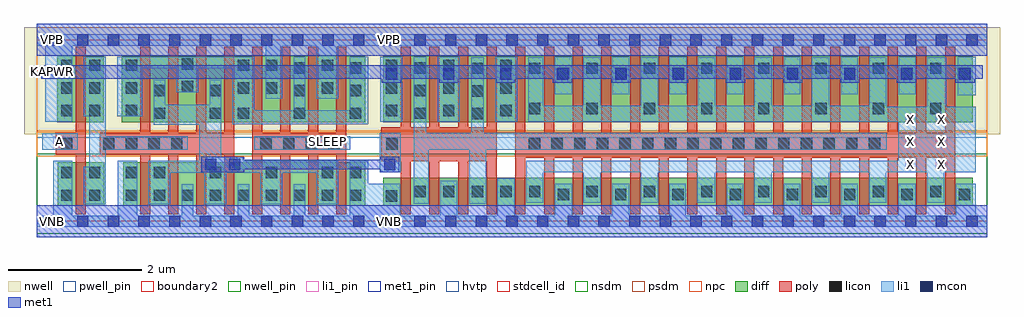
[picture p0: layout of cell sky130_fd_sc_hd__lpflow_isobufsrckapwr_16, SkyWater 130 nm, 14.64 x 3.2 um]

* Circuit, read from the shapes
.subckt sky130_fd_sc_hd__lpflow_isobufsrckapwr_16 A KAPWR SLEEP VGND VNB VPB VPWR X
XM1 n1 A VGND VNB sky130_fd_pr__nfet_01v8 w=0.65 l=0.15
XM2 n2 n1 VGND VNB sky130_fd_pr__nfet_01v8 w=0.65 l=0.15 m=4
XM3 n2 SLEEP VGND VNB sky130_fd_pr__nfet_01v8 w=0.65 l=0.15 m=4
XM4 n3 n2 VGND VNB sky130_fd_pr__nfet_01v8 w=0.42 l=0.15 m=4
XM5 X n3 VGND VNB sky130_fd_pr__nfet_01v8 w=0.42 l=0.15 m=16
XM6 n1 A VPWR VPB sky130_fd_pr__pfet_01v8_hvt w=1 l=0.15
XM7 n2 n1 n4 VPB sky130_fd_pr__pfet_01v8_hvt w=1 l=0.15 m=4
XM8 VPWR SLEEP n4 VPB sky130_fd_pr__pfet_01v8_hvt w=1 l=0.15 m=4
XM9 n3 n2 KAPWR VPB sky130_fd_pr__pfet_01v8_hvt w=1 l=0.15 m=4
XM10 X n3 KAPWR VPB sky130_fd_pr__pfet_01v8_hvt w=1 l=0.15 m=16
.ends

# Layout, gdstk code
import gdstk
lib = gdstk.Library(unit=1e-6, precision=1e-09)
def R(c, l, rs):  # rectangles x0, y0, x1, y1
    for r in rs: c.add(gdstk.rectangle(r[:2], r[2:], *l))
def A(c, l, x, y, w, h, nx, ny, dx, dy):  # array of equal rectangles
    R(c, l, [(x+i*dx, y+j*dy, x+i*dx+w, y+j*dy+h) for i in range(nx) for j in range(ny)])
def P(c, l, *ps):  # polygons
    for p in ps: c.add(gdstk.Polygon(p, *l))
nwell_pin = (64, 16)
nwell = (64, 20)
diff = (65, 20)
poly = (66, 20)
licon = (66, 44)
li1_pin = (67, 16)
li1 = (67, 20)
mcon = (67, 44)
met1_pin = (68, 16)
met1 = (68, 20)
hvtp = (78, 44)
stdcell_id = (81, 4)
nsdm = (93, 44)
psdm = (94, 20)
npc = (95, 20)
pwell_pin = (122, 16)
boundary2 = (236, 0)

sky130_fd_sc_hd__lpflow_ = lib.new_cell('sky130_fd_sc_hd__lpflow_isobufsrckapwr_16')
R(sky130_fd_sc_hd__lpflow_, nwell_pin, [(0.15,2.635,0.32,2.805), (5.205,2.635,5.375,2.805)])
R(sky130_fd_sc_hd__lpflow_, nwell, [(-0.19,1.305,14.45,2.91)])
R(sky130_fd_sc_hd__lpflow_, diff, [(0.315,0.235,1.015,0.885), (1.295,0.235,4.925,0.885), (5.195,0.235,14.04,0.655), (0.305,1.485,1.005,2.485), (1.275,1.485,4.925,2.485), (5.195,1.485,14.04,2.485)])
P(sky130_fd_sc_hd__lpflow_, poly, [(0.735,2.615),(0.585,2.615),(0.585,1.325),(0.285,1.325),(0.285,0.995),(0.585,0.995),(0.585,0.105),(0.735,0.105)],
  [(2.965,2.615),(2.815,2.615),(2.815,1.325),(2.545,1.325),(2.545,2.615),(2.395,2.615),(2.395,1.325),(2.125,1.325),(2.125,2.615),(1.975,2.615),(1.975,1.325),(1.705,1.325),(1.705,2.615),(1.555,2.615),(1.555,1.325),(0.945,1.325),(0.945,0.995),(1.555,0.995),(1.555,0.105),(1.705,0.105),(1.705,0.995),(1.975,0.995),(1.975,0.105),(2.125,0.105),(2.125,0.995),(2.395,0.995),(2.395,0.105),(2.545,0.105),(2.545,0.995),(2.815,0.995),(2.815,0.105),(2.965,0.105)],
  [(4.645,2.615),(4.495,2.615),(4.495,1.325),(4.225,1.325),(4.225,2.615),(4.075,2.615),(4.075,1.325),(3.805,1.325),(3.805,2.615),(3.655,2.615),(3.655,1.325),(3.385,1.325),(3.385,2.615),(3.235,2.615),(3.235,0.105),(3.385,0.105),(3.385,0.995),(3.655,0.995),(3.655,0.105),(3.805,0.105),(3.805,0.995),(4.075,0.995),(4.075,0.105),(4.225,0.105),(4.225,0.995),(4.495,0.995),(4.495,0.105),(4.645,0.105)],
  [(6.9,2.615),(6.75,2.615),(6.75,1.41),(6.47,1.41),(6.47,2.615),(6.32,2.615),(6.32,1.41),(6.04,1.41),(6.04,2.615),(5.89,2.615),(5.89,1.41),(5.61,1.41),(5.61,2.615),(5.46,2.615),(5.46,1.41),(5.165,1.41),(5.165,0.9),(5.46,0.9),(5.46,0.105),(5.61,0.105),(5.61,0.9),(5.89,0.9),(5.89,0.105),(6.04,0.105),(6.04,0.9),(6.32,0.9),(6.32,0.105),(6.47,0.105),(6.47,0.9),(6.75,0.9),(6.75,0.105),(6.9,0.105)],
  [(13.775,2.615),(13.625,2.615),(13.625,1.325),(13.345,1.325),(13.345,2.615),(13.195,2.615),(13.195,1.325),(12.915,1.325),(12.915,2.615),(12.765,2.615),(12.765,1.325),(12.485,1.325),(12.485,2.615),(12.335,2.615),(12.335,1.325),(12.055,1.325),(12.055,2.615),(11.905,2.615),(11.905,1.325),(11.625,1.325),(11.625,2.615),(11.475,2.615),(11.475,1.325),(11.195,1.325),(11.195,2.615),(11.045,2.615),(11.045,1.325),(10.765,1.325),(10.765,2.615),(10.615,2.615),(10.615,1.325),(10.34,1.325),(10.34,2.615),(10.19,2.615),(10.19,1.325),(9.91,1.325),(9.91,2.615),(9.76,2.615),(9.76,1.325),(9.48,1.325),(9.48,2.615),(9.33,2.615),(9.33,1.325),(9.05,1.325),(9.05,2.615),(8.9,2.615),(8.9,1.325),(8.62,1.325),(8.62,2.615),(8.47,2.615),(8.47,1.325),(8.19,1.325),(8.19,2.615),(8.04,2.615),(8.04,1.325),(7.76,1.325),(7.76,2.615),(7.61,2.615),(7.61,1.325),(7.33,1.325),(7.33,2.615),(7.18,2.615),(7.18,0.105),(7.33,0.105),(7.33,0.95),(7.61,0.95),(7.61,0.105),(7.76,0.105),(7.76,0.95),(8.04,0.95),(8.04,0.105),(8.19,0.105),(8.19,0.95),(8.47,0.95),(8.47,0.105),(8.62,0.105),(8.62,0.95),(8.9,0.95),(8.9,0.105),(9.05,0.105),(9.05,0.95),(9.33,0.95),(9.33,0.105),(9.48,0.105),(9.48,0.95),(9.76,0.95),(9.76,0.105),(9.91,0.105),(9.91,0.95),(10.19,0.95),(10.19,0.105),(10.34,0.105),(10.34,0.95),(10.615,0.95),(10.615,0.105),(10.765,0.105),(10.765,0.95),(11.045,0.95),(11.045,0.105),(11.195,0.105),(11.195,0.95),(11.475,0.95),(11.475,0.105),(11.625,0.105),(11.625,0.95),(11.905,0.95),(11.905,0.105),(12.055,0.105),(12.055,0.95),(12.335,0.95),(12.335,0.105),(12.485,0.105),(12.485,0.95),(12.765,0.95),(12.765,0.105),(12.915,0.105),(12.915,0.95),(13.195,0.95),(13.195,0.105),(13.345,0.105),(13.345,0.95),(13.625,0.95),(13.625,0.105),(13.775,0.105)])
A(sky130_fd_sc_hd__lpflow_, licon, 1.335, 0.305, 0.17, 0.17, 9, 1, 0.42, 0)
A(sky130_fd_sc_hd__lpflow_, licon, 7.815, 0.315, 0.17, 0.17, 4, 2, 0.86, 1.82)
A(sky130_fd_sc_hd__lpflow_, licon, 11.25, 0.315, 0.17, 0.17, 4, 2, 0.86, 1.82)
A(sky130_fd_sc_hd__lpflow_, licon, 5.665, 0.36, 0.17, 0.17, 5, 1, 0.43, 0)
A(sky130_fd_sc_hd__lpflow_, licon, 8.245, 0.36, 0.17, 0.17, 3, 1, 0.86, 0)
A(sky130_fd_sc_hd__lpflow_, licon, 10.82, 0.36, 0.17, 0.17, 4, 2, 0.86, 1.245)
A(sky130_fd_sc_hd__lpflow_, licon, 1.755, 0.645, 0.17, 0.17, 4, 1, 0.84, 0)
A(sky130_fd_sc_hd__lpflow_, licon, 0.995, 1.075, 0.17, 0.17, 4, 1, 0.34, 0)
A(sky130_fd_sc_hd__lpflow_, licon, 3.355, 1.075, 0.17, 0.17, 4, 1, 0.34, 0)
A(sky130_fd_sc_hd__lpflow_, licon, 7.38, 1.075, 0.17, 0.17, 16, 1, 0.34, 0)
A(sky130_fd_sc_hd__lpflow_, licon, 3.015, 1.535, 0.17, 0.17, 3, 1, 0.84, 0)
A(sky130_fd_sc_hd__lpflow_, licon, 5.665, 1.535, 0.17, 0.17, 1, 3, 0, 0.34)
A(sky130_fd_sc_hd__lpflow_, licon, 0.365, 1.575, 0.17, 0.17, 1, 3, 0, 0.34)
A(sky130_fd_sc_hd__lpflow_, licon, 0.785, 1.575, 0.17, 0.17, 1, 3, 0, 0.34)
A(sky130_fd_sc_hd__lpflow_, licon, 1.335, 1.575, 0.17, 0.17, 1, 3, 0, 0.34)
A(sky130_fd_sc_hd__lpflow_, licon, 5.235, 1.575, 0.17, 0.17, 3, 3, 0.86, 0.34)
A(sky130_fd_sc_hd__lpflow_, licon, 7.385, 1.605, 0.17, 0.17, 4, 1, 0.86, 0)
A(sky130_fd_sc_hd__lpflow_, licon, 6.525, 2.21, 0.17, 0.17, 5, 1, 0.86, 0)
A(sky130_fd_sc_hd__lpflow_, licon, 10.82, 2.21, 0.17, 0.17, 4, 1, 0.86, 0)
R(sky130_fd_sc_hd__lpflow_, licon, [(5.235,0.295,5.405,0.465), (0.365,0.305,0.535,0.475), (0.785,0.305,0.955,0.475), (0.365,0.645,0.535,0.815), (0.785,0.645,0.955,0.815), (1.335,0.645,1.505,0.815), (4.695,0.645,4.865,0.815), (0.365,1.075,0.535,1.245), (5.245,1.075,5.415,1.245), (6.525,1.53,6.695,1.7), (1.755,1.535,1.925,1.705), (2.595,1.535,2.765,1.705), (6.525,1.87,6.695,2.04), (1.755,1.875,1.925,2.045), (2.595,1.875,2.765,2.045), (3.855,1.875,4.025,2.045), (4.695,1.875,4.865,2.045), (3.015,1.915,3.185,2.085), (3.435,1.915,3.605,2.085), (4.275,1.915,4.445,2.085), (2.175,1.935,2.345,2.105), (3.855,2.215,4.025,2.385), (4.695,2.215,4.865,2.385), (3.015,2.255,3.185,2.425), (3.435,2.255,3.605,2.425), (4.275,2.255,4.445,2.425), (2.175,2.275,2.345,2.445)])
A(sky130_fd_sc_hd__lpflow_, li1_pin, 13.025, 0.765, 0.17, 0.17, 1, 3, 0, 0.34)
A(sky130_fd_sc_hd__lpflow_, li1_pin, 13.485, 0.765, 0.17, 0.17, 1, 3, 0, 0.34)
R(sky130_fd_sc_hd__lpflow_, li1_pin, [(0.25,1.105,0.42,1.275), (4.28,1.105,4.45,1.275)])
A(sky130_fd_sc_hd__lpflow_, li1, 5.155, 1.495, 0.33, 0.97, 3, 1, 0.86, 0)
A(sky130_fd_sc_hd__lpflow_, li1, 7.77, 1.905, 0.26, 0.56, 3, 1, 0.86, 0)
A(sky130_fd_sc_hd__lpflow_, li1, 10.35, 1.905, 0.245, 0.56, 3, 1, 0.86, 0)
R(sky130_fd_sc_hd__lpflow_, li1, [(5.145,0.735,5.46,1.325), (0.085,1.075,0.615,1.32), (3.26,1.075,4.7,1.275), (13.815,1.89,14.085,2.465), (12.93,1.905,13.185,2.465)])
P(sky130_fd_sc_hd__lpflow_, li1, [(2.265,1.275),(1.035,1.275),(1.035,2.465),(0.705,2.465),(0.705,1.575),(0.785,1.575),(0.785,0.815),(0.705,0.815),(0.705,0.255),(1.035,0.255),(1.035,1.075),(2.265,1.075)],
  [(4.525,0.905),(3.095,0.905),(3.095,0.965),(2.765,0.965),(2.765,2.125),(2.595,2.125),(2.595,1.745),(1.925,1.745),(1.925,2.125),(1.755,2.125),(1.755,1.445),(2.435,1.445),(2.435,0.905),(1.675,0.905),(1.675,0.255),(2.005,0.255),(2.005,0.725),(2.515,0.725),(2.515,0.255),(2.845,0.255),(2.845,0.725),(3.355,0.725),(3.355,0.255),(3.685,0.255),(3.685,0.725),(4.195,0.725),(4.195,0.255),(4.525,0.255)],
  [(4.975,2.465),(4.695,2.465),(4.695,1.665),(4.025,1.665),(4.025,2.465),(3.855,2.465),(3.855,1.665),(3.265,1.665),(3.265,2.465),(1.205,2.465),(1.205,1.575),(1.585,1.575),(1.585,2.295),(2.095,2.295),(2.095,1.935),(2.425,1.935),(2.425,2.295),(2.935,2.295),(2.935,1.455),(4.975,1.455)],
  [(14.26,0.085),(14.085,0.085),(14.085,0.565),(13.785,0.565),(13.785,0.085),(13.185,0.085),(13.185,0.565),(12.925,0.565),(12.925,0.085),(12.315,0.085),(12.315,0.565),(12.065,0.565),(12.065,0.085),(11.455,0.085),(11.455,0.565),(11.205,0.565),(11.205,0.085),(10.595,0.085),(10.595,0.565),(10.35,0.565),(10.35,0.085),(9.735,0.085),(9.735,0.565),(9.49,0.565),(9.49,0.085),(8.89,0.085),(8.89,0.565),(8.63,0.565),(8.63,0.085),(8.03,0.085),(8.03,0.565),(7.77,0.565),(7.77,0.085),(7.17,0.085),(7.17,0.645),(6.91,0.645),(6.91,0.085),(6.31,0.085),(6.31,0.61),(6.05,0.61),(6.05,0.085),(5.45,0.085),(5.45,0.565),(4.975,0.565),(4.975,0.905),(4.695,0.905),(4.695,0.085),(4.025,0.085),(4.025,0.555),(3.855,0.555),(3.855,0.085),(3.185,0.085),(3.185,0.555),(3.015,0.555),(3.015,0.085),(2.345,0.085),(2.345,0.555),(2.175,0.555),(2.175,0.085),(1.505,0.085),(1.505,0.905),(1.215,0.905),(1.215,0.085),(0.535,0.085),(0.535,0.905),(0.245,0.905),(0.245,0.085),(0,0.085),(0,-0.085),(14.26,-0.085)],
  [(14.085,1.72),(13.645,1.72),(13.645,2.46),(13.355,2.46),(13.355,1.72),(12.745,1.72),(12.745,2.46),(12.485,2.46),(12.485,1.735),(11.885,1.735),(11.885,2.46),(11.625,2.46),(11.625,1.735),(11.025,1.735),(11.025,2.46),(10.765,2.46),(10.765,1.735),(10.18,1.735),(10.18,2.46),(9.92,2.46),(9.92,1.735),(9.32,1.735),(9.32,2.46),(9.06,2.46),(9.06,1.735),(8.46,1.735),(8.46,2.46),(8.2,2.46),(8.2,1.735),(7.6,1.735),(7.6,2.46),(7.375,2.46),(7.375,1.495),(12.92,1.495),(12.92,0.905),(7.34,0.905),(7.34,0.28),(7.6,0.28),(7.6,0.735),(8.2,0.735),(8.2,0.28),(8.46,0.28),(8.46,0.735),(9.06,0.735),(9.06,0.28),(9.32,0.28),(9.32,0.735),(9.905,0.735),(9.905,0.28),(10.18,0.28),(10.18,0.735),(10.765,0.735),(10.765,0.28),(11.025,0.28),(11.025,0.735),(11.625,0.735),(11.625,0.28),(11.885,0.28),(11.885,0.735),(12.485,0.735),(12.485,0.28),(12.745,0.28),(12.745,0.735),(13.355,0.735),(13.355,0.28),(13.615,0.28),(13.615,0.735),(14.085,0.735)],
  [(14.26,2.805),(0,2.805),(0,2.635),(0.13,2.635),(0.13,1.495),(0.535,1.495),(0.535,2.635),(3.435,2.635),(3.435,1.835),(3.685,1.835),(3.685,2.635),(4.195,2.635),(4.195,1.835),(4.525,1.835),(4.525,2.635),(14.26,2.635)],
  [(12.75,1.325),(6.705,1.325),(6.705,2.46),(6.515,2.46),(6.515,1.325),(5.845,1.325),(5.845,2.465),(5.655,2.465),(5.655,0.265),(5.88,0.265),(5.88,1.075),(6.49,1.075),(6.49,0.265),(6.74,0.265),(6.74,1.075),(12.75,1.075)])
A(sky130_fd_sc_hd__lpflow_, mcon, 0.145, -0.085, 0.17, 0.17, 31, 2, 0.46, 2.72)
R(sky130_fd_sc_hd__lpflow_, mcon, [(2.525,0.765,2.695,0.935), (2.885,0.765,3.055,0.935), (5.21,0.765,5.38,0.935), (5.235,2.125,5.405,2.295), (6.095,2.125,6.265,2.295), (6.95,2.125,7.12,2.295), (7.8,2.125,7.97,2.295), (8.68,2.125,8.85,2.295), (9.54,2.125,9.71,2.295), (10.395,2.125,10.565,2.295), (11.255,2.125,11.425,2.295), (12.11,2.125,12.28,2.295), (12.96,2.125,13.13,2.295), (13.84,2.125,14.01,2.295)])
R(sky130_fd_sc_hd__lpflow_, met1_pin, [(0.15,-0.085,0.32,0.085), (0.13,2.14,0.375,2.34), (0.15,2.635,0.32,2.805)])
P(sky130_fd_sc_hd__lpflow_, met1, [(14.19,2.34),(0.07,2.34),(0.07,2.14),(5.175,2.14),(5.175,2.08),(5.465,2.08),(5.465,2.14),(6.035,2.14),(6.035,2.08),(6.325,2.08),(6.325,2.14),(6.89,2.14),(6.89,2.08),(7.18,2.08),(7.18,2.14),(7.74,2.14),(7.74,2.08),(8.03,2.08),(8.03,2.14),(8.62,2.14),(8.62,2.08),(8.91,2.08),(8.91,2.14),(9.48,2.14),(9.48,2.08),(9.77,2.08),(9.77,2.14),(10.335,2.14),(10.335,2.08),(10.625,2.08),(10.625,2.14),(11.195,2.14),(11.195,2.08),(11.485,2.08),(11.485,2.14),(12.05,2.14),(12.05,2.08),(12.34,2.08),(12.34,2.14),(12.9,2.14),(12.9,2.08),(13.19,2.08),(13.19,2.14),(13.78,2.14),(13.78,2.08),(14.07,2.08),(14.07,2.14),(14.19,2.14)],
  [(5.44,0.965),(5.15,0.965),(5.15,0.92),(3.115,0.92),(3.115,0.965),(2.465,0.965),(2.465,0.735),(3.115,0.735),(3.115,0.78),(5.15,0.78),(5.15,0.735),(5.44,0.735)])
R(sky130_fd_sc_hd__lpflow_, hvtp, [(0,1.25,14.26,2.72)])
R(sky130_fd_sc_hd__lpflow_, stdcell_id, [(0,0,14.26,2.72)])
R(sky130_fd_sc_hd__lpflow_, nsdm, [(0,-0.19,14.26,1.015)])
R(sky130_fd_sc_hd__lpflow_, psdm, [(0,1.355,14.26,2.91)])
R(sky130_fd_sc_hd__lpflow_, npc, [(0,0.975,14.26,1.345)])
R(sky130_fd_sc_hd__lpflow_, pwell_pin, [(0.15,-0.085,0.32,0.085), (5.205,-0.085,5.375,0.085)])
R(sky130_fd_sc_hd__lpflow_, boundary2, [(0,0,14.26,2.72)])
sky130_fd_sc_hd__lpflow_.add(gdstk.FlexPath([(0,2.72),(14.26,2.72)], 0.48, ends="flush", simple_path=True, layer=68, datatype=20))  # met1
sky130_fd_sc_hd__lpflow_.add(gdstk.FlexPath([(0,0),(14.26,0)], 0.48, ends="flush", simple_path=True, layer=68, datatype=20))  # met1
sky130_fd_sc_hd__lpflow_.add(gdstk.Label('X', (13.57,0.85), layer=67, texttype=5))
sky130_fd_sc_hd__lpflow_.add(gdstk.Label('X', (13.11,0.85), layer=67, texttype=5))
sky130_fd_sc_hd__lpflow_.add(gdstk.Label('X', (13.11,1.19), layer=67, texttype=5))
sky130_fd_sc_hd__lpflow_.add(gdstk.Label('X', (13.57,1.19), layer=67, texttype=5))
sky130_fd_sc_hd__lpflow_.add(gdstk.Label('X', (13.57,1.53), layer=67, texttype=5))
sky130_fd_sc_hd__lpflow_.add(gdstk.Label('X', (13.11,1.53), layer=67, texttype=5))
sky130_fd_sc_hd__lpflow_.add(gdstk.Label('A', (0.335,1.19), layer=67, texttype=5))
sky130_fd_sc_hd__lpflow_.add(gdstk.Label('SLEEP', (4.365,1.19), layer=67, texttype=5))
sky130_fd_sc_hd__lpflow_.add(gdstk.Label('VNB', (0.23,0), layer=64, texttype=59))
sky130_fd_sc_hd__lpflow_.add(gdstk.Label('VNB', (5.29,0), layer=64, texttype=59))
sky130_fd_sc_hd__lpflow_.add(gdstk.Label('VNB', (5.29,0), layer=64, texttype=59))
sky130_fd_sc_hd__lpflow_.add(gdstk.Label('VPB', (0.23,2.72), layer=64, texttype=5))
sky130_fd_sc_hd__lpflow_.add(gdstk.Label('VPB', (5.29,2.72), layer=64, texttype=5))
sky130_fd_sc_hd__lpflow_.add(gdstk.Label('VPB', (5.29,2.72), layer=64, texttype=5))
sky130_fd_sc_hd__lpflow_.add(gdstk.Label('VGND', (0.23,0), layer=68, texttype=5))
sky130_fd_sc_hd__lpflow_.add(gdstk.Label('VPWR', (0.23,2.72), layer=68, texttype=5))
sky130_fd_sc_hd__lpflow_.add(gdstk.Label('KAPWR', (0.24,2.25), layer=68, texttype=5))
sky130_fd_sc_hd__lpflow_.add(gdstk.Label('lpflow_isobufsrckapwr_16', (0,0), layer=83, texttype=44))

lib.write_gds('sky130_fd_sc_hd__lpflow_isobufsrckapwr_16.gds')
